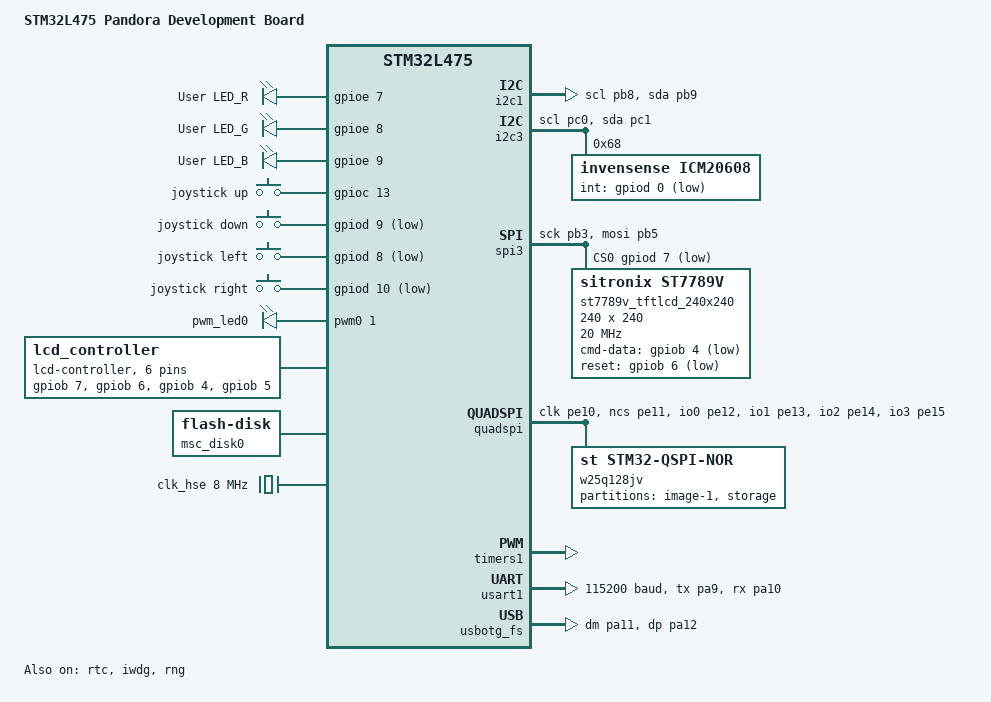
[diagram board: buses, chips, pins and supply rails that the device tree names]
/*
 * Copyright (c) 2017 TsMax
 *
 * Based on stm32l475_pandora:
 *
 * Copyright (c) 2017 Tisilicon Limited
 *
 * SPDX-License-Identifier: Apache-2.0
 */

/dts-v1/;
#include <st/l4/stm32l475Xe.dtsi>
#include <st/l4/stm32l475v(c-e-g)tx-pinctrl.dtsi>
#include <zephyr/dt-bindings/input/input-event-codes.h>

/ {
	model = "STM32L475 Pandora Development Board";
	compatible = "alientek,pandora_stm32l475";

	aliases {
		led0 = &red_led;
		sw0 = &joy_up;
		
		pwm-led0 = &pwm_led0;
		spi-flash0 = &w25q128jv;
		rtc = &rtc;
	};

	chosen {
		zephyr,console = &usart1;
		zephyr,shell-uart = &usart1;
		zephyr,sram = &sram0;
		zephyr,flash = &flash0;
		zephyr,code-partition = &slot0_partition;
		zephyr,display = &st7789v_tftlcd_240x240;
		zephyr,flash-controller = &w25q128jv;
	};

	leds {
		compatible = "gpio-leds";
		red_led: led_0 {
			gpios = <&gpioe 7 GPIO_ACTIVE_HIGH>;
			label = "User LED_R";
		};
		green_led: led_1 {
			gpios = <&gpioe 8 GPIO_ACTIVE_HIGH>;
			label = "User LED_G";
		};
		blue_led: led_2 {
			gpios = <&gpioe 9 GPIO_ACTIVE_HIGH>;
			label = "User LED_B";
		};
	};

	gpio_keys {
		compatible = "gpio-keys";
		joy_up: joystick_up {
			label = "joystick up";
			gpios = <&gpioc 13 (GPIO_ACTIVE_HIGH | GPIO_PULL_DOWN)>;
			zephyr,code = <INPUT_KEY_UP>;
		};
		joy_down: joystick_down {
			label = "joystick down";
			gpios = <&gpiod 9 (GPIO_ACTIVE_LOW | GPIO_PULL_UP)>;
			zephyr,code = <INPUT_KEY_DOWN>;
		};
		joy_left: joystick_left {
			label = "joystick left";
			gpios = <&gpiod 8 (GPIO_ACTIVE_LOW | GPIO_PULL_UP)>;
			zephyr,code = <INPUT_KEY_LEFT>;
		};
		joy_right: joystick_right {
			label = "joystick right";
			gpios = <&gpiod 10 (GPIO_ACTIVE_LOW | GPIO_PULL_UP)>;
		};
	};

	pwmleds {
		compatible = "pwm-leds";
		status = "okay";
		pwm_led0: pwm_led0 {
			pwms = <&pwm0 1 PWM_MSEC(20) PWM_POLARITY_NORMAL>;
		};
	};


	lcd_controller: connector {
		compatible = "lcd-controller";
		#gpio-cells = <2>;
		gpio-map-mask = <0xffffffff 0xffffffc0>;
		gpio-map-pass-thru = <0 0x3f>;
		gpio-map =
			<0 0 &gpiob 7 0>,    /* PB7 LCD_PWR 		*/
			<1 0 &gpiob 6 0>,    /* PB6 LCD_RESET 	*/
			<2 0 &gpiob 4 0>,    /* PB5 LCD_WR		*/
			<3 0 &gpiob 5 0>,    /* PB4 LCD_SPI_SDA	*/
			<4 0 &gpiob 3 0>,    /* PB3 LCD_SPI_CSK	*/
			<5 0 &gpiod 7 0>;    /* PD7 LCD_CS		*/
	};

	msc_disk0 {
		compatible = "zephyr,flash-disk";
		partition = <&storage_partition>;
		disk-name = "NAND";
		cache-size = <4096>;
	};
};


&pinctrl {
	i2c3_scl_pc0: i2c3_scl_pc0 {
		pinmux = <STM32_PINMUX('C', 0, AF4)>;
	};
	i2c3_sda_pc1: i2c3_sda_pc1 {
		pinmux = <STM32_PINMUX('C', 1, AF4)>;
	};
	i2c1_scl_pb8: i2c1_scl_pb8 {
		pinmux = <STM32_PINMUX('B', 8, AF4)>;
	};
	i2c1_sda_pb9: i2c1_sda_pb9 {
		pinmux = <STM32_PINMUX('B', 9, AF4)>;
	};
};


&i2c1 {
	status = "okay";
	pinctrl-names = "default";
	pinctrl-0 = <&i2c1_scl_pb8 &i2c1_sda_pb9>;
};

&i2c3 {
	status = "okay";
	pinctrl-names = "default";
	pinctrl-0 = <&i2c3_scl_pc0 &i2c3_sda_pc1>;
	icm20608@68 {
		compatible = "invensense,icm20608";
		reg = <0x68>;
		status = "okay";
		int-gpios = <&gpiod 0 GPIO_ACTIVE_LOW>;
	};
};

&spi3 {
	status = "okay";
	pinctrl-names = "default";
	pinctrl-0 = <&spi3_sck_pb3 &spi3_mosi_pb5>;
	cs-gpios = <&gpiod 7 GPIO_ACTIVE_LOW>;

	st7789v_tftlcd_240x240: st7789v@0 {
		compatible = "sitronix,st7789v";
		spi-max-frequency = <20000000>;
		reg = <0>;
		cmd-data-gpios = <&gpiob 4 GPIO_ACTIVE_LOW>;
		reset-gpios = <&gpiob 6 GPIO_ACTIVE_LOW>;
		// bl-ctrl-gpios = <&gpiob 7 (GPIO_ACTIVE_LOW | GPIO_PULL_DOWN)>;
		width = <240>;
		height = <240>;
		x-offset = <0>;
		y-offset = <0>;
		vcom = <0x19>;
		gctrl = <0x35>;
		vrhs = <0x12>;
		vdvs = <0x20>;
		mdac = <0x00>;
		gamma = <0x01>;
		colmod = <0x05>;
		lcm = <0x2c>;
		porch-param = [0c 0c 00 33 33];
		cmd2en-param = [5a 69 02 01];
		pwctrl1-param = [a4 a1];
		pvgam-param = [D0 04 0D 11 13 2B 3F 54 4C 18 0D 0B 1F 23];
		nvgam-param = [D0 04 0C 11 13 2C 3F 44 51 2F 1F 1F 20 23];
		ram-param = [00 F0];
		rgb-param = [CD 08 14];
	};
};

&quadspi {
	pinctrl-0 = <&quadspi_clk_pe10 &quadspi_ncs_pe11
			&quadspi_bk1_io0_pe12 &quadspi_bk1_io1_pe13
			&quadspi_bk1_io2_pe14 &quadspi_bk1_io3_pe15>;
	pinctrl-names = "default";

	status = "okay";
	w25q128jv: qspi-nor-flash@90000000 {
			compatible = "st,stm32-qspi-nor";
			reg = <0x90000000 DT_SIZE_M(16)>; /* 128 Mbits */
			qspi-max-frequency = <80000000>;
			jedec-id = [ef 40 18];
			spi-bus-width = <4>;
			status = "okay";
			partitions {
				compatible = "fixed-partitions";
				#address-cells = <1>;
				#size-cells = <1>;
	
				slot1_partition: partition@0 {
					label = "image-1";
					reg = <0x00000000 DT_SIZE_K(864)>;
					};
	
				storage_partition: partition@d8000 {
					label = "storage";
					reg = <0x000d8000 DT_SIZE_M(7)>;
				};
			};
	
	};
};
&timers1 {
	st,prescaler = <10000>;
	status = "okay";

	pwm0: pwm {
		status = "okay";
		pinctrl-0 = <&tim1_ch1_pe9>;
		pinctrl-names = "default";
	};
};
&clk_lse {
	status = "okay";
};

&clk_lsi {
	status = "okay";
};

&clk_hsi {
	status = "okay";
};

&clk_hse {
	clock-frequency = <DT_FREQ_M(8)>;
	status = "okay";
};
&clk_msi {
	status = "okay";
	msi-pll-mode;
	msi-range = <11>; /* 48MHz USB bus clk */
};

&pll {
	div-m = <1>;
	mul-n = <20>;
	div-p = <7>;
	div-q = <2>;
	div-r = <2>;
	clocks = <&clk_hse>;
	// div-r = <4>;
	// clocks = <&clk_hsi>;
	status = "okay";
};

&rcc {
	clocks = <&pll>;
	clock-frequency = <DT_FREQ_M(80)>;
	ahb-prescaler = <1>;
	apb1-prescaler = <1>;
	apb2-prescaler = <1>;
};

&usart1 {
	pinctrl-0 = <&usart1_tx_pa9 &usart1_rx_pa10>;
	pinctrl-names = "default";
	current-speed = <115200>;
	status = "okay";
};

&flash0 {
	partitions {
		compatible = "fixed-partitions";
		#address-cells = <1>;
		#size-cells = <1>;

		boot_partition: partition@0 {
			label = "mcuboot";
			reg = <0x00000000 DT_SIZE_K(64)>;
			read-only;
		};

		/*
		 * The flash starting at offset 0x10000 and ending at
		 * offset 0x1ffff is reserved for use by the application.
		 */

		slot0_partition: partition@20000 {
			label = "image-0";
			reg = <0x00020000 DT_SIZE_K(352)>;
		};

		scratch_partition: partition@f8000 {
			label = "image-scratch";
			reg = <0x000F8000 DT_SIZE_K(16)>;
		};
	};
};
&rtc {
	clocks = <&rcc STM32_CLOCK_BUS_APB1 0x10000000>,
		 <&rcc STM32_SRC_LSI RTC_SEL(2)>;
	status = "okay";

	backup_regs {
		status = "okay";
	};
};

zephyr_udc0: &usbotg_fs {
	pinctrl-0 = <&usb_otg_fs_dm_pa11 &usb_otg_fs_dp_pa12>;
	// pinctrl-0 = <&usb_otg_fs_dm_pa11 &usb_otg_fs_dp_pa12
	// 	     &usb_otg_fs_id_pa10>;
	pinctrl-names = "default";
	status = "okay";
};

&iwdg {
	status = "okay";
};

&rng {
	status = "okay";
};
